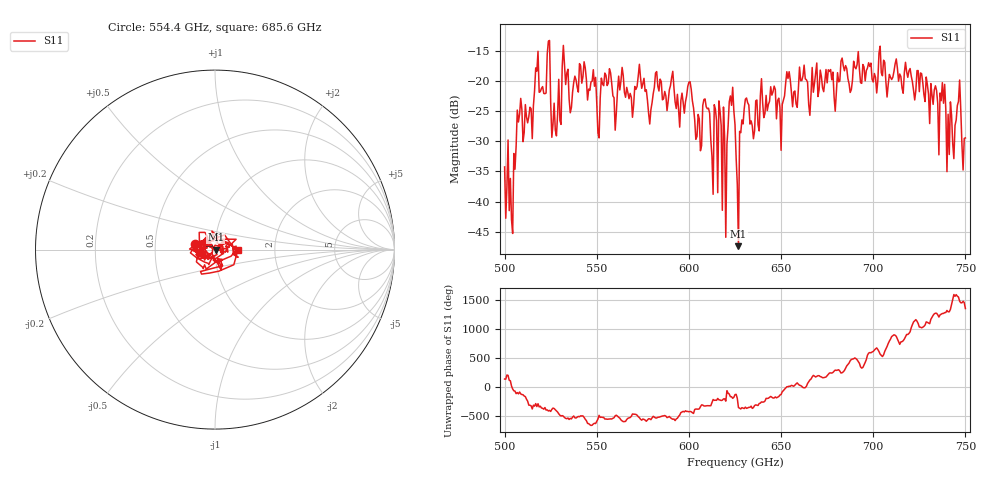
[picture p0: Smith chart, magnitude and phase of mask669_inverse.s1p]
!Created with skrf (http://scikit-rf.org).
# GHz S MA R 50.0
!freq magS11 angS11
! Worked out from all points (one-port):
!   401 points, 500 GHz to 750 GHz, reference 50 ohm
!   lowest |S11| = -47.4 dB at 626.9 GHz (marker M1), VSWR 1.01, Z = 50.4 + j0.0141 ohm
!   |S11| at or under -10 dB: start of sweep to end of sweep
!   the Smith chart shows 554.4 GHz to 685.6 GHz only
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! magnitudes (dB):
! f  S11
! 500 GHz  -34.3
! 503.8 GHz  -43.1
! 508.1 GHz  -25.5
! 513.8 GHz  -24.3
! 517.5 GHz  -18.3
! 523.8 GHz  -13.4
! 526.9 GHz  -23.7
! 531.2 GHz  -17.6
! 541.9 GHz  -20.3
! 551.2 GHz  -29.4
! 562.5 GHz  -21.5
! 593.8 GHz  -22.2
! 600.6 GHz  -20.1
! 605.6 GHz  -26.3
! 609.4 GHz  -24.3
! 619.4 GHz  -29.4
! 622.5 GHz  -22.5
! 625 GHz  -27.2
! 626.9 GHz  -47.4
! 631.2 GHz  -22.8
! 634.4 GHz  -27.4
! 656.2 GHz  -24.3
! 687.5 GHz  -21.9
! 718.8 GHz  -19.4
! 737.5 GHz  -20.3
! 742.5 GHz  -25.7
! 746.2 GHz  -23.4
! 750 GHz  -29.4
